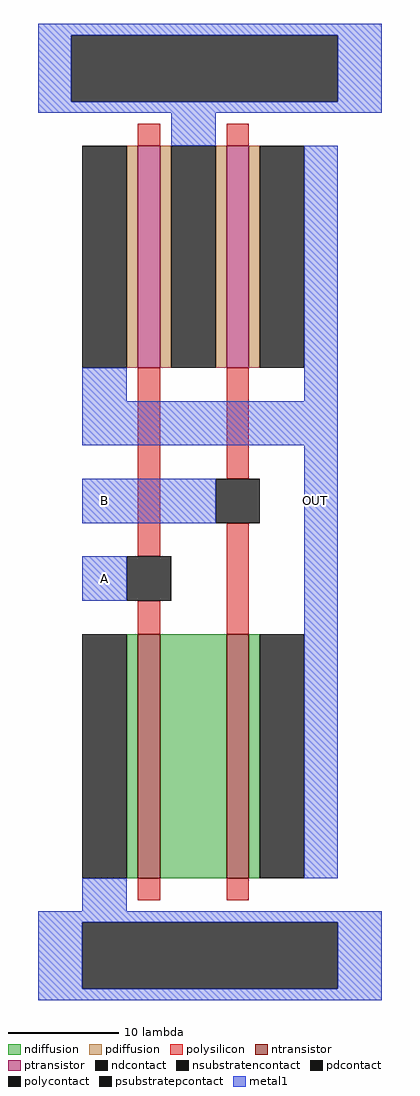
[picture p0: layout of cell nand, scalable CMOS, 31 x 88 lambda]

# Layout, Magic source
magic
tech scmos
<< ntransistor >>
rect -14 -50 -12 -28
rect -6 -50 -4 -28
<< ptransistor >>
rect -14 -4 -12 16
rect -6 -4 -4 16
<< ndiffusion >>
rect -15 -50 -14 -28
rect -12 -50 -6 -28
rect -4 -50 -3 -28
<< pdiffusion >>
rect -15 -4 -14 16
rect -12 -4 -11 16
rect -7 -4 -6 16
rect -4 -4 -3 16
<< ndcontact >>
rect -19 -50 -15 -28
rect -3 -50 1 -28
<< pdcontact >>
rect -19 -4 -15 16
rect -11 -4 -7 16
rect -3 -4 1 16
<< psubstratepcontact >>
rect -19 -60 4 -54
<< nsubstratencontact >>
rect -20 20 4 26
<< polysilicon >>
rect -14 16 -12 18
rect -6 16 -4 18
rect -14 -21 -12 -4
rect -6 -14 -4 -4
rect -14 -28 -12 -25
rect -6 -28 -4 -18
rect -14 -52 -12 -50
rect -6 -52 -4 -50
<< polycontact >>
rect -7 -18 -3 -14
rect -15 -25 -11 -21
<< metal1 >>
rect -23 26 8 27
rect -23 20 -20 26
rect 4 20 8 26
rect -23 19 8 20
rect -11 16 -7 19
rect -19 -7 -15 -4
rect 1 -7 4 16
rect -19 -11 4 -7
rect -19 -18 -7 -14
rect -19 -25 -15 -21
rect 1 -50 4 -11
rect -19 -53 -15 -50
rect -23 -54 8 -53
rect -23 -60 -19 -54
rect 4 -60 8 -54
rect -23 -61 8 -60
<< labels >>
rlabel metal1 2 -16 2 -16 0 OUT
rlabel metal1 -17 -23 -17 -23 0 A
rlabel metal1 -17 -16 -17 -16 0 B
<< end >>
